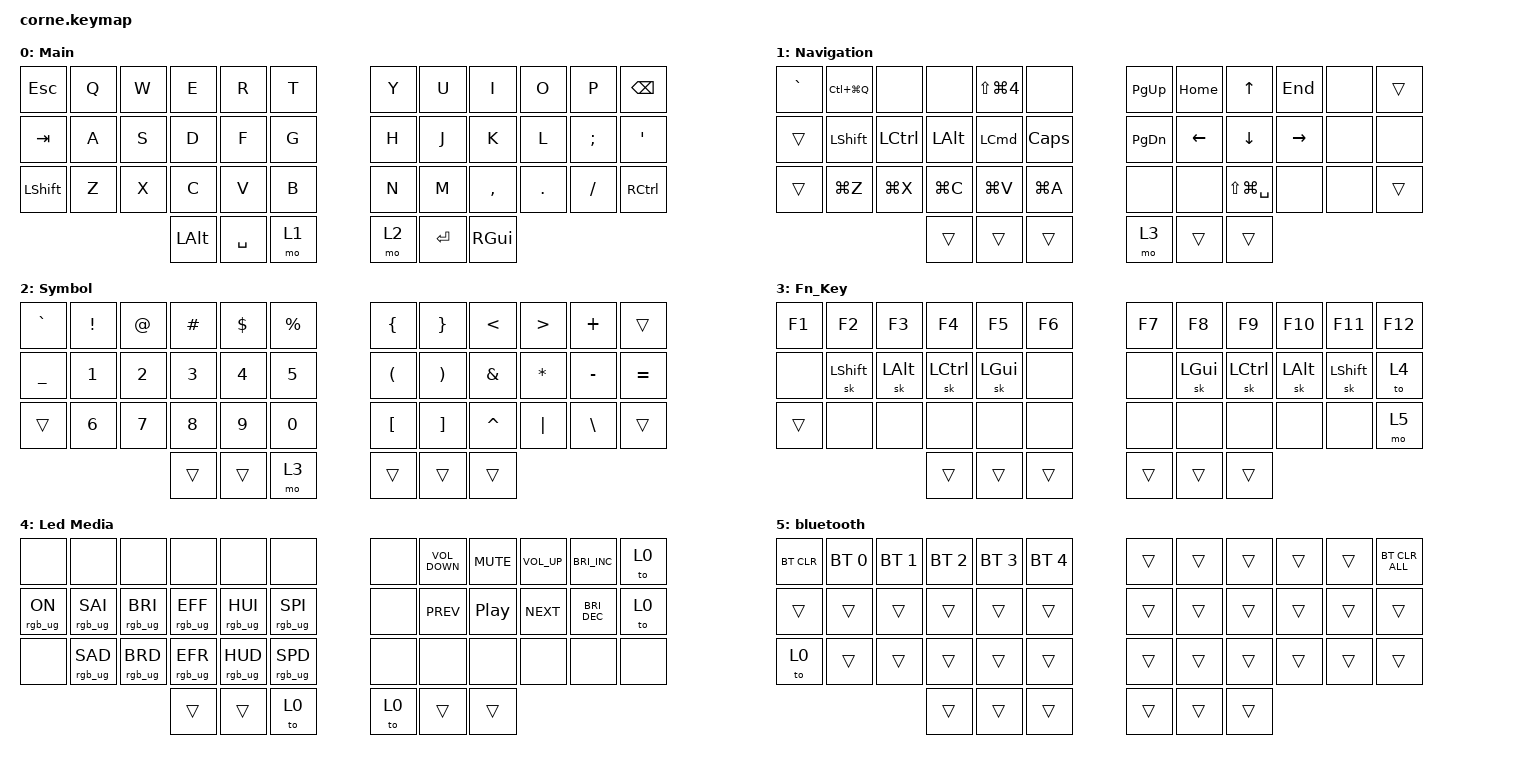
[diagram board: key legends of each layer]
/*
 * Copyright (c) 2020 The ZMK Contributors
 *
 * SPDX-License-Identifier: MIT
 */

#include <behaviors.dtsi>
#include <dt-bindings/zmk/backlight.h>
#include <dt-bindings/zmk/bt.h>
#include <dt-bindings/zmk/keys.h>
#include <dt-bindings/zmk/rgb.h>

/ {
    keymap {
        compatible = "zmk,keymap";

        main_layer {
            label = "Main";
            bindings = <
&kp ESCAPE  &kp Q  &kp W  &kp E     &kp R      &kp T    &kp Y  &kp U    &kp I      &kp O    &kp P     &kp BSPC
&kp TAB     &kp A  &kp S  &kp D     &kp F      &kp G    &kp H  &kp J    &kp K      &kp L    &kp SEMI  &kp SQT
&kp LSHFT   &kp Z  &kp X  &kp C     &kp V      &kp B    &kp N  &kp M    &kp COMMA  &kp DOT  &kp FSLH  &kp RCTRL
                          &kp LALT  &kp SPACE  &mo 1    &mo 2  &kp RET  &kp RGUI
            >;
        };

        navigation_layer {
            label = "Navigation";
            bindings = <
&kp GRAVE  &kp LC(LG(Q))  &none      &none      &kp LS(LG(N4))  &none        &kp PAGE_UP    &kp HOME        &kp UP_ARROW       &kp END    &none  &trans
&trans     &kp LSHFT      &kp LCTRL  &kp LALT   &kp LCMD        &kp CAPS     &kp PAGE_DOWN  &kp LEFT_ARROW  &kp DOWN_ARROW     &kp RIGHT  &none  &none
&trans     &kp LG(Z)      &kp LG(X)  &kp LG(C)  &kp LG(V)       &kp LG(A)    &none          &none           &kp LS(LG(SPACE))  &none      &none  &trans
                                     &trans     &trans          &trans       &mo 3          &trans          &trans
            >;
        };

        symbol_layer {
            label = "Symbol";
            bindings = <
&kp GRAVE       &kp EXCL  &kp AT  &kp HASH  &kp DLLR  &kp PRCNT    &kp LEFT_BRACE        &kp RIGHT_BRACE        &kp LESS_THAN  &kp GT     &kp PLUS   &trans
&kp UNDERSCORE  &kp N1    &kp N2  &kp N3    &kp N4    &kp N5       &kp LEFT_PARENTHESIS  &kp RIGHT_PARENTHESIS  &kp AMPS       &kp ASTRK  &kp MINUS  &kp EQUAL
&trans          &kp N6    &kp N7  &kp N8    &kp N9    &kp N0       &kp LEFT_BRACKET      &kp RIGHT_BRACKET      &kp CARET      &kp PIPE   &kp BSLH   &trans
                                  &trans    &trans    &mo 3        &trans                &trans                 &trans
            >;
        };

        function_key_layer {
            label = "Fn_Key";
            bindings = <
&kp F1  &kp F2     &kp F3    &kp F4     &kp F5    &kp F6    &kp F7  &kp F8    &kp F9     &kp F10   &kp F11    &kp F12
&none   &sk LSHFT  &sk LALT  &sk LCTRL  &sk LGUI  &none     &none   &sk LGUI  &sk LCTRL  &sk LALT  &sk LSHFT  &to 4
&trans  &none      &none     &none      &none     &none     &none   &none     &none      &none     &none      &mo 5
                             &trans     &trans    &trans    &trans  &trans    &trans
            >;
        };

        settings_layer {
            label = "Led Media";
            bindings = <
&none           &none            &none            &none            &none            &none              &none  &kp C_VOLUME_DOWN  &kp K_MUTE        &kp C_VOLUME_UP  &kp C_BRI_INC  &to 0
&rgb_ug RGB_ON  &rgb_ug RGB_SAI  &rgb_ug RGB_BRI  &rgb_ug RGB_EFF  &rgb_ug RGB_HUI  &rgb_ug RGB_SPI    &none  &kp C_PREV         &kp C_PLAY_PAUSE  &kp C_NEXT       &kp C_BRI_DEC  &to 0
&none           &rgb_ug RGB_SAD  &rgb_ug RGB_BRD  &rgb_ug RGB_EFR  &rgb_ug RGB_HUD  &rgb_ug RGB_SPD    &none  &none              &none             &none            &none          &none
                                                  &trans           &trans           &to 0              &to 0  &trans             &trans
            >;
        };

        bluetooth_layer {
            bindings = <
&bt BT_CLR  &bt BT_SEL 0  &bt BT_SEL 1  &bt BT_SEL 2  &bt BT_SEL 3  &bt BT_SEL 4    &trans  &trans  &trans  &trans  &trans  &bt BT_CLR_ALL
&trans      &trans        &trans        &trans        &trans        &trans          &trans  &trans  &trans  &trans  &trans  &trans
&to 0       &trans        &trans        &trans        &trans        &trans          &trans  &trans  &trans  &trans  &trans  &trans
                                        &trans        &trans        &trans          &trans  &trans  &trans
            >;

            label = "bluetooth";
        };
    };
};

&led_strip { chain-length = <27>; };
